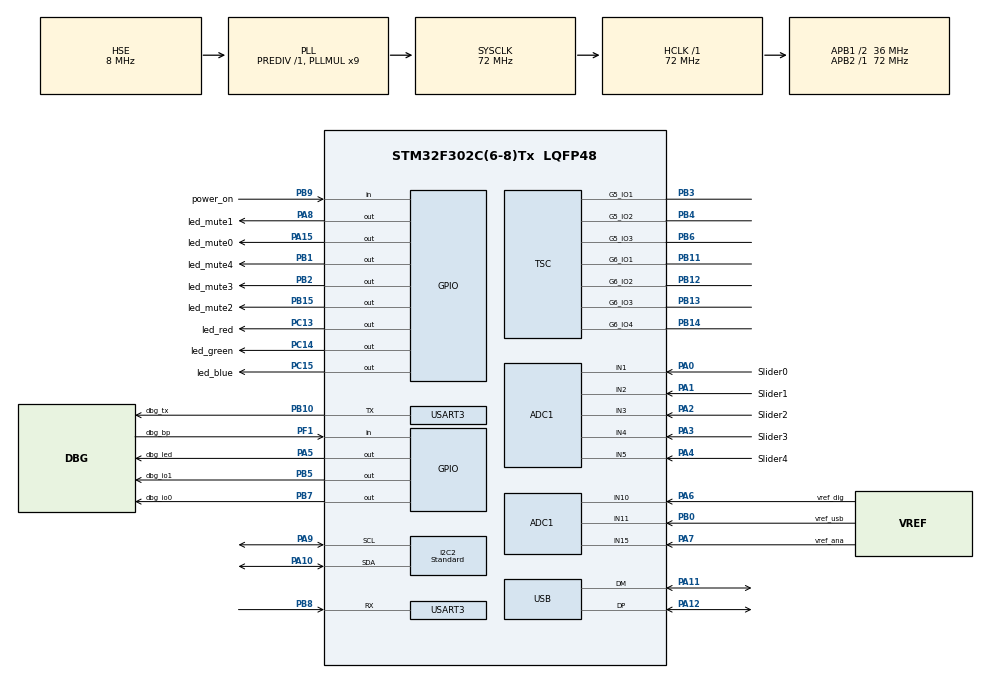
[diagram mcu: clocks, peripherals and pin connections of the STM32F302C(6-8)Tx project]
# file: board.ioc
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ADC1.Channel-0\#ChannelRegularConversion=ADC_CHANNEL_1
ADC1.ClockPrescaler=ADC_CLOCK_SYNC_PCLK_DIV2
ADC1.NbrOfConversion=1
ADC1.NbrOfConversionFlag=1
ADC1.Offset-0\#ChannelRegularConversion=0
ADC1.OffsetNumber-0\#ChannelRegularConversion=ADC_OFFSET_NONE
ADC1.Rank-0\#ChannelRegularConversion=1
ADC1.SamplingTime-0\#ChannelRegularConversion=ADC_SAMPLETIME_1CYCLE_5
ADC1.SubFamily=STM32F302x8
ADC1.master=1
Dma.Request0=USART3_TX
Dma.USART3_TX.0.Direction=DMA_MEMORY_TO_PERIPH
Dma.USART3_TX.0.Instance=DMA1_Channel2
Dma.USART3_TX.0.MemDataAlignment=DMA_MDATAALIGN_BYTE
Dma.USART3_TX.0.MemInc=DMA_MINC_ENABLE
Dma.USART3_TX.0.Mode=DMA_NORMAL
Dma.USART3_TX.0.PeriphDataAlignment=DMA_PDATAALIGN_BYTE
Dma.USART3_TX.0.PeriphInc=DMA_PINC_DISABLE
Dma.USART3_TX.0.Priority=DMA_PRIORITY_LOW
I2C2.I2C_Rise_Time=100
I2C2.I2C_Speed_Mode=I2C_Standard
I2C2.Speed=100
I2C2.Timing=0x00201D2B
Mcu.Family=STM32F3
Mcu.Name=STM32F302C(6-8)Tx
Mcu.Package=LQFP48
NVIC.DMA1_Channel2_IRQn=true\:2\:0\:true\:false\:true\:false\:true\:true
NVIC.PriorityGroup=NVIC_PRIORITYGROUP_4
NVIC.TIM1_BRK_TIM15_IRQn=true\:0\:0\:false\:false\:true\:true\:true\:true
NVIC.TIM1_UP_TIM16_IRQn=true\:0\:0\:false\:false\:true\:true\:true\:true
NVIC.TIM2_IRQn=true\:0\:0\:false\:false\:true\:true\:true\:true
NVIC.USART3_IRQn=true\:2\:0\:true\:false\:true\:true\:true\:true
NVIC.USB_LP_IRQn=true\:1\:0\:true\:false\:true\:false\:true\:true
PA0.GPIO_Label=Slider0
PA0.Mode=IN1-Single-Ended
PA0.Signal=ADC1_IN1
PA1.GPIO_Label=Slider1
PA1.Mode=IN2-Single-Ended
PA1.Signal=ADC1_IN2
PA10.Mode=I2C
PA10.Signal=I2C2_SDA
PA11.Mode=Device
PA11.Signal=USB_DM
PA12.Mode=Device
PA12.Signal=USB_DP
PA13.Mode=Serial_Wire
PA13.Signal=SYS_JTMS-SWDIO
PA14.Mode=Serial_Wire
PA14.Signal=SYS_JTCK-SWCLK
PA15.GPIO_Label=led_mute0
PA15.Signal=GPIO_Output
PA2.GPIO_Label=Slider2
PA2.Mode=IN3-Single-Ended
PA2.Signal=ADC1_IN3
PA3.GPIO_Label=Slider3
PA3.Mode=IN4-Single-Ended
PA3.Signal=ADC1_IN4
PA4.GPIO_Label=Slider4
PA4.Mode=IN5-Single-Ended
PA4.Signal=ADC1_IN5
PA5.GPIO_Label=dbg_led
PA5.Signal=GPIO_Output
PA6.GPIO_Label=vref_dig
PA6.Signal=ADCx_IN10
PA7.GPIO_Label=vref_ana
PA7.Mode=IN15-Single-Ended
PA7.Signal=ADC1_IN15
PA8.GPIO_Label=led_mute1
PA8.Signal=GPIO_Output
PA9.Mode=I2C
PA9.Signal=I2C2_SCL
PB0.GPIO_Label=vref_usb
PB0.Mode=IN11-Single-Ended
PB0.Signal=ADC1_IN11
PB1.GPIO_Label=led_mute4
PB1.Signal=GPIO_Output
PB10.GPIO_Label=dbg_tx
PB10.Mode=Asynchronous
PB10.Signal=USART3_TX
PB11.GPIO_ModeDefaultPP=GPIO_MODE_AF_PP
PB11.GPIO_PuPd=GPIO_NOPULL
PB11.GPIO_Speed=GPIO_SPEED_FREQ_LOW
PB11.Mode=G6_IO1-Channel
PB11.Signal=TSC_G6_IO1
PB12.GPIO_ModeDefaultPP=GPIO_MODE_AF_PP
PB12.GPIO_PuPd=GPIO_NOPULL
PB12.GPIO_Speed=GPIO_SPEED_FREQ_LOW
PB12.Mode=G6_IO2-Channel
PB12.Signal=TSC_G6_IO2
PB13.GPIO_ModeDefaultPP=GPIO_MODE_AF_PP
PB13.GPIO_PuPd=GPIO_NOPULL
PB13.GPIO_Speed=GPIO_SPEED_FREQ_LOW
PB13.Mode=G6_IO3-Channel
PB13.Signal=TSC_G6_IO3
PB14.GPIO_ModeDefaultOD=GPIO_MODE_AF_OD
PB14.GPIO_PuPdOD=GPIO_NOPULL
PB14.GPIO_Speed=GPIO_SPEED_FREQ_LOW
PB14.Mode=G6_IO4-Sampling
PB14.Signal=TSC_G6_IO4
PB15.GPIO_Label=led_mute2
PB15.Signal=GPIO_Output
PB2.GPIO_Label=led_mute3
PB2.PinState=GPIO_PIN_RESET
PB2.Signal=GPIO_Output
PB3.GPIO_ModeDefaultPP=GPIO_MODE_AF_PP
PB3.GPIO_PuPd=GPIO_NOPULL
PB3.GPIO_Speed=GPIO_SPEED_FREQ_LOW
PB3.Mode=G5_IO1-Channel
PB3.Signal=TSC_G5_IO1
PB4.GPIO_ModeDefaultPP=GPIO_MODE_AF_PP
PB4.GPIO_PuPd=GPIO_NOPULL
PB4.GPIO_Speed=GPIO_SPEED_FREQ_LOW
PB4.Mode=G5_IO2-Channel
PB4.Signal=TSC_G5_IO2
PB5.GPIO_Label=dbg_io1
PB5.Signal=GPIO_Output
PB6.GPIO_ModeDefaultOD=GPIO_MODE_AF_OD
PB6.GPIO_PuPdOD=GPIO_NOPULL
PB6.GPIO_Speed=GPIO_SPEED_FREQ_LOW
PB6.Mode=G5_IO3-Sampling
PB6.Signal=TSC_G5_IO3
PB7.GPIO_Label=dbg_io0
PB7.Signal=GPIO_Output
PB8.Mode=Asynchronous
PB8.Signal=USART3_RX
PB9.GPIO_Label=power_on
PB9.Signal=GPIO_Input
PC13.GPIO_Label=led_red
PC13.Signal=GPIO_Output
PC14\ -\ OSC32_IN.GPIO_Label=led_green
PC14\ -\ OSC32_IN.Signal=GPIO_Output
PC15\ -\ OSC32_OUT.GPIO_Label=led_blue
PC15\ -\ OSC32_OUT.Signal=GPIO_Output
PF0-OSC_IN.Mode=HSE-External-Clock-Source
PF0-OSC_IN.Signal=RCC_OSC_IN
PF1-OSC_OUT.GPIO_Label=dbg_bp
PF1-OSC_OUT.Signal=GPIO_Input
ProjectManager.HeapSize=0x200
ProjectManager.StackSize=0x400
ProjectManager.TargetToolchain=STM32CubeIDE
RCC.AHBFreq_Value=72000000
RCC.APB1CLKDivider=RCC_HCLK_DIV2
RCC.APB1Freq_Value=36000000
RCC.APB1TimFreq_Value=72000000
RCC.APB2Freq_Value=72000000
RCC.APB2TimFreq_Value=72000000
RCC.CortexFreq_Value=72000000
RCC.HCLKFreq_Value=72000000
RCC.HSE_VALUE=8000000
RCC.HSI_VALUE=8000000
RCC.LSE_VALUE=32768
RCC.PLLMUL=RCC_PLL_MUL9
RCC.PRESCALERUSB=RCC_USBCLKSOURCE_PLL_DIV1_5
RCC.SYSCLKFreq_VALUE=72000000
RCC.SYSCLKSourceVirtual=RCC_SYSCLKSOURCE_PLLCLK
RCC.USBFreq_Value=48000000
SH.ADCx_IN10.0=ADC1_IN10,IN10-Single-Ended
TIM15.AutoReloadPreload=TIM_AUTORELOAD_PRELOAD_ENABLE
TIM15.ClockDivision=TIM_CLOCKDIVISION_DIV4
TIM15.Period=20535
TIM15.Prescaler=5
TIM16.AutoReloadPreload=TIM_AUTORELOAD_PRELOAD_ENABLE
TIM16.ClockDivision=TIM_CLOCKDIVISION_DIV4
TIM16.Period=55000
TIM16.Prescaler=5
TIM2.AutoReloadPreload=TIM_AUTORELOAD_PRELOAD_ENABLE
TIM2.ClockDivision=TIM_CLOCKDIVISION_DIV4
TIM2.CounterMode=TIM_COUNTERMODE_UP
TIM2.Period=250
TIM2.Prescaler=5
TIM2.TIM_MasterOutputTrigger=TIM_TRGO_UPDATE
TSC.CTPulseHighLength=TSC_CTPH_12CYCLES
TSC.CTPulseLowLength=TSC_CTPL_12CYCLES
TSC.ChannelIOs-G5_IO1=TSC_GROUP5_IO1
TSC.ChannelIOs-G5_IO2=TSC_GROUP5_IO2
TSC.ChannelIOs-G6_IO1=TSC_GROUP6_IO1
TSC.ChannelIOs-G6_IO2=TSC_GROUP6_IO2
TSC.ChannelIOs-G6_IO3=TSC_GROUP6_IO3
TSC.IODefaultMode=TSC_IODEF_OUT_PP_LOW
TSC.PulseGeneratorPrescaler=TSC_PG_PRESC_DIV16
TSC.SamplingIOs-G5_IO3=TSC_GROUP5_IO3
TSC.SamplingIOs-G6_IO4=TSC_GROUP6_IO4
TSC.SpreadSpectrum=DISABLE
TSC.SpreadSpectrumDeviation=2
TSC.SpreadSpectrumPrescaler=TSC_SS_PRESC_DIV2
USART3.BaudRate=115200
USART3.VirtualMode-Asynchronous=VM_ASYNC
USB_DEVICE.CLASS_NAME_FS=CDC
USB_DEVICE.VirtualMode=Cdc
USB_DEVICE.VirtualModeFS=Cdc_FS
VP_TIM15_VS_ClockSourceINT.Mode=Internal
VP_TIM16_VS_ClockSourceINT.Mode=Enable_Timer
VP_TIM2_VS_ClockSourceINT.Mode=Internal
VP_USB_DEVICE_VS_USB_DEVICE_CDC_FS.Mode=CDC_FS
board=custom

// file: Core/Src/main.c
/* USER CODE BEGIN Header */
/**
  ******************************************************************************
  * @file           : main.c
  * @brief          : Main program body
  ******************************************************************************
  * @attention
  *
  * Copyright (c) 2025 STMicroelectronics.
  * All rights reserved.
  *
  * This software is licensed under terms that can be found in the LICENSE file
  * in the root directory of this software component.
  * If no LICENSE file comes with this software, it is provided AS-IS.
  *
  ******************************************************************************
  */
/* USER CODE END Header */
#include "main.h"
#include "usb_device.h"

/* USER CODE BEGIN Includes */
// ST
#include "usbd_cdc_if.h"

// Others files
#include "config.h"
#include "fsm/fsm.h"
#include "utils/init.h"
#include "handlers/leds.h"
#include "handlers/timers.h"

#include "utils/logger.h"

/* USER CODE END Includes */

ADC_HandleTypeDef hadc1;

I2C_HandleTypeDef hi2c2;

TIM_HandleTypeDef htim2;
TIM_HandleTypeDef htim15;
TIM_HandleTypeDef htim16;

TSC_HandleTypeDef htsc;

UART_HandleTypeDef huart3;
DMA_HandleTypeDef hdma_usart3_tx;

void SystemClock_Config(void);
static void MX_GPIO_Init(void);
static void MX_DMA_Init(void);
static void MX_ADC1_Init(void);
static void MX_I2C2_Init(void);
static void MX_TSC_Init(void);
static void MX_USART3_UART_Init(void);
static void MX_TIM2_Init(void);
static void MX_TIM15_Init(void);
static void MX_TIM16_Init(void);

/* USER CODE BEGIN 0 */
extern uint8_t isr_message[ISR_MESSAGE_SIZE];
extern uint8_t msg_available;

// From fsm/fsm.c
extern int output_volumes[5];

// Private variables
uint8_t uart_message[96] = { 0 };

/* USER CODE END 0 */

int main(void)
{

  /* MCU Configuration--------------------------------------------------------*/

  /* Reset of all peripherals, Initializes the Flash interface and the Systick. */
  HAL_Init();

  /* Configure the system clock */
  SystemClock_Config();

  /* USER CODE BEGIN SysInit */
  /*
   * Call theses here, to ensure the logger will be effective immediately.
   * After regeneration, they may be re-called, but we don't care ! We'll overwrite the same parameters.
   */
  MX_DMA_Init();
  MX_USART3_UART_Init();

  /* USER CODE END SysInit */

  /* Initialize all configured peripherals */
  MX_GPIO_Init();
  // MX_DMA_Init();
  MX_ADC1_Init();
  MX_I2C2_Init();
  MX_TSC_Init();
  // MX_USART3_UART_Init();
  MX_USB_DEVICE_Init();
  MX_TIM2_Init();
  MX_TIM15_Init();
  MX_TIM16_Init();
  /* USER CODE BEGIN 2 */

  // Init the board
  board_init();

  /* USER CODE END 2 */

  /* Infinite loop */
  /* USER CODE BEGIN WHILE */
  // int size = 0;
  while (1)
  {
	  fsm_update();
    /* USER CODE END WHILE */

  }
}

void SystemClock_Config(void)
{
  RCC_OscInitTypeDef RCC_OscInitStruct = {0};
  RCC_ClkInitTypeDef RCC_ClkInitStruct = {0};
  RCC_PeriphCLKInitTypeDef PeriphClkInit = {0};

  /** Initializes the RCC Oscillators according to the specified parameters
  * in the RCC_OscInitTypeDef structure.
  */
  RCC_OscInitStruct.OscillatorType = RCC_OSCILLATORTYPE_HSI|RCC_OSCILLATORTYPE_HSE;
  RCC_OscInitStruct.HSEState = RCC_HSE_BYPASS;
  RCC_OscInitStruct.HSEPredivValue = RCC_HSE_PREDIV_DIV1;
  RCC_OscInitStruct.HSIState = RCC_HSI_ON;
  RCC_OscInitStruct.HSICalibrationValue = RCC_HSICALIBRATION_DEFAULT;
  RCC_OscInitStruct.PLL.PLLState = RCC_PLL_ON;
  RCC_OscInitStruct.PLL.PLLSource = RCC_PLLSOURCE_HSE;
  RCC_OscInitStruct.PLL.PLLMUL = RCC_PLL_MUL9;
  if (HAL_RCC_OscConfig(&RCC_OscInitStruct) != HAL_OK)
  {
    Error_Handler();
  }

  /** Initializes the CPU, AHB and APB buses clocks
  */
  RCC_ClkInitStruct.ClockType = RCC_CLOCKTYPE_HCLK|RCC_CLOCKTYPE_SYSCLK
                              |RCC_CLOCKTYPE_PCLK1|RCC_CLOCKTYPE_PCLK2;
  RCC_ClkInitStruct.SYSCLKSource = RCC_SYSCLKSOURCE_PLLCLK;
  RCC_ClkInitStruct.AHBCLKDivider = RCC_SYSCLK_DIV1;
  RCC_ClkInitStruct.APB1CLKDivider = RCC_HCLK_DIV2;
  RCC_ClkInitStruct.APB2CLKDivider = RCC_HCLK_DIV1;

  if (HAL_RCC_ClockConfig(&RCC_ClkInitStruct, FLASH_LATENCY_2) != HAL_OK)
  {
    Error_Handler();
  }
  PeriphClkInit.PeriphClockSelection = RCC_PERIPHCLK_USB|RCC_PERIPHCLK_I2C2
                              |RCC_PERIPHCLK_TIM15|RCC_PERIPHCLK_TIM16;
  PeriphClkInit.I2c2ClockSelection = RCC_I2C2CLKSOURCE_HSI;
  PeriphClkInit.USBClockSelection = RCC_USBCLKSOURCE_PLL_DIV1_5;
  PeriphClkInit.Tim15ClockSelection = RCC_TIM15CLK_HCLK;
  PeriphClkInit.Tim16ClockSelection = RCC_TIM16CLK_HCLK;
  if (HAL_RCCEx_PeriphCLKConfig(&PeriphClkInit) != HAL_OK)
  {
    Error_Handler();
  }
}

static void MX_ADC1_Init(void)
{

  ADC_ChannelConfTypeDef sConfig = {0};

  /** Common config
  */
  hadc1.Instance = ADC1;
  hadc1.Init.ClockPrescaler = ADC_CLOCK_SYNC_PCLK_DIV2;
  hadc1.Init.Resolution = ADC_RESOLUTION_12B;
  hadc1.Init.ScanConvMode = ADC_SCAN_DISABLE;
  hadc1.Init.ContinuousConvMode = DISABLE;
  hadc1.Init.DiscontinuousConvMode = DISABLE;
  hadc1.Init.ExternalTrigConvEdge = ADC_EXTERNALTRIGCONVEDGE_NONE;
  hadc1.Init.ExternalTrigConv = ADC_SOFTWARE_START;
  hadc1.Init.DataAlign = ADC_DATAALIGN_RIGHT;
  hadc1.Init.NbrOfConversion = 1;
  hadc1.Init.DMAContinuousRequests = DISABLE;
  hadc1.Init.EOCSelection = ADC_EOC_SINGLE_CONV;
  hadc1.Init.LowPowerAutoWait = DISABLE;
  hadc1.Init.Overrun = ADC_OVR_DATA_OVERWRITTEN;
  if (HAL_ADC_Init(&hadc1) != HAL_OK)
  {
    Error_Handler();
  }

  /** Configure Regular Channel
  */
  sConfig.Channel = ADC_CHANNEL_1;
  sConfig.Rank = ADC_REGULAR_RANK_1;
  sConfig.SingleDiff = ADC_SINGLE_ENDED;
  sConfig.SamplingTime = ADC_SAMPLETIME_1CYCLE_5;
  sConfig.OffsetNumber = ADC_OFFSET_NONE;
  sConfig.Offset = 0;
  if (HAL_ADC_ConfigChannel(&hadc1, &sConfig) != HAL_OK)
  {
    Error_Handler();
  }
  /* USER CODE BEGIN ADC1_Init 2 */
  int size = 0;
  size = snprintf((char *)uart_message, (size_t)sizeof(uart_message), "[  ADC   ] Initialised ADC.\n\r");
  uart_log(uart_message, size);
  memset((void *)uart_message, 0x00, (size_t)sizeof(uart_message));
  /* USER CODE END ADC1_Init 2 */

}

static void MX_I2C2_Init(void)
{

  hi2c2.Instance = I2C2;
  hi2c2.Init.Timing = 0x00201D2B;
  hi2c2.Init.OwnAddress1 = 0;
  hi2c2.Init.AddressingMode = I2C_ADDRESSINGMODE_7BIT;
  hi2c2.Init.DualAddressMode = I2C_DUALADDRESS_DISABLE;
  hi2c2.Init.OwnAddress2 = 0;
  hi2c2.Init.OwnAddress2Masks = I2C_OA2_NOMASK;
  hi2c2.Init.GeneralCallMode = I2C_GENERALCALL_DISABLE;
  hi2c2.Init.NoStretchMode = I2C_NOSTRETCH_DISABLE;
  if (HAL_I2C_Init(&hi2c2) != HAL_OK)
  {
    Error_Handler();
  }

  /** Configure Analogue filter
  */
  if (HAL_I2CEx_ConfigAnalogFilter(&hi2c2, I2C_ANALOGFILTER_ENABLE) != HAL_OK)
  {
    Error_Handler();
  }

  /** Configure Digital filter
  */
  if (HAL_I2CEx_ConfigDigitalFilter(&hi2c2, 0) != HAL_OK)
  {
    Error_Handler();
  }
  /* USER CODE BEGIN I2C2_Init 2 */
  int size = 0;
  size =  snprintf((char *)uart_message, (size_t)sizeof(uart_message), "[  I2C2  ] Initialised I2C2.\n\r");
  uart_log(uart_message, size);
  memset((void *)uart_message, 0x00, (size_t)sizeof(uart_message));
  /* USER CODE END I2C2_Init 2 */

}

static void MX_TIM2_Init(void)
{

  TIM_ClockConfigTypeDef sClockSourceConfig = {0};
  TIM_MasterConfigTypeDef sMasterConfig = {0};

  htim2.Instance = TIM2;
  htim2.Init.Prescaler = 5;
  htim2.Init.CounterMode = TIM_COUNTERMODE_UP;
  htim2.Init.Period = 250;
  htim2.Init.ClockDivision = TIM_CLOCKDIVISION_DIV4;
  htim2.Init.AutoReloadPreload = TIM_AUTORELOAD_PRELOAD_ENABLE;
  if (HAL_TIM_Base_Init(&htim2) != HAL_OK)
  {
    Error_Handler();
  }
  sClockSourceConfig.ClockSource = TIM_CLOCKSOURCE_INTERNAL;
  if (HAL_TIM_ConfigClockSource(&htim2, &sClockSourceConfig) != HAL_OK)
  {
    Error_Handler();
  }
  sMasterConfig.MasterOutputTrigger = TIM_TRGO_UPDATE;
  sMasterConfig.MasterSlaveMode = TIM_MASTERSLAVEMODE_DISABLE;
  if (HAL_TIMEx_MasterConfigSynchronization(&htim2, &sMasterConfig) != HAL_OK)
  {
    Error_Handler();
  }
  /* USER CODE BEGIN TIM2_Init 2 */
  int size = 0;
  size = snprintf((char *)uart_message, (size_t)sizeof(uart_message), "[  TIM2  ] Initialised TIM2, with a period of 10 ms.\n\r");
  uart_log(uart_message, size);
  memset((void *)uart_message, 0x00, (size_t)sizeof(uart_message));
  /* USER CODE END TIM2_Init 2 */

}

static void MX_TIM15_Init(void)
{

  TIM_ClockConfigTypeDef sClockSourceConfig = {0};
  TIM_MasterConfigTypeDef sMasterConfig = {0};

  htim15.Instance = TIM15;
  htim15.Init.Prescaler = 5;
  htim15.Init.CounterMode = TIM_COUNTERMODE_UP;
  htim15.Init.Period = 20535;
  htim15.Init.ClockDivision = TIM_CLOCKDIVISION_DIV4;
  htim15.Init.RepetitionCounter = 0;
  htim15.Init.AutoReloadPreload = TIM_AUTORELOAD_PRELOAD_ENABLE;
  if (HAL_TIM_Base_Init(&htim15) != HAL_OK)
  {
    Error_Handler();
  }
  sClockSourceConfig.ClockSource = TIM_CLOCKSOURCE_INTERNAL;
  if (HAL_TIM_ConfigClockSource(&htim15, &sClockSourceConfig) != HAL_OK)
  {
    Error_Handler();
  }
  sMasterConfig.MasterOutputTrigger = TIM_TRGO_RESET;
  sMasterConfig.MasterSlaveMode = TIM_MASTERSLAVEMODE_DISABLE;
  if (HAL_TIMEx_MasterConfigSynchronization(&htim15, &sMasterConfig) != HAL_OK)
  {
    Error_Handler();
  }
  /* USER CODE BEGIN TIM15_Init 2 */
  int size = 0;
  size = snprintf((char *)uart_message, (size_t)sizeof(uart_message), "[  TIM15 ] Initialised TIM15, with a period of 40 us.\n\r");
  uart_log(uart_message, size);
  memset((void *)uart_message, 0x00, (size_t)sizeof(uart_message));
  /* USER CODE END TIM15_Init 2 */

}

static void MX_TIM16_Init(void)
{

  htim16.Instance = TIM16;
  htim16.Init.Prescaler = 5;
  htim16.Init.CounterMode = TIM_COUNTERMODE_UP;
  htim16.Init.Period = 55000;
  htim16.Init.ClockDivision = TIM_CLOCKDIVISION_DIV4;
  htim16.Init.RepetitionCounter = 0;
  htim16.Init.AutoReloadPreload = TIM_AUTORELOAD_PRELOAD_ENABLE;
  if (HAL_TIM_Base_Init(&htim16) != HAL_OK)
  {
    Error_Handler();
  }
  /* USER CODE BEGIN TIM16_Init 2 */
  int size = 0;
  size = snprintf((char *)uart_message, (size_t)sizeof(uart_message), "[  TIM16 ] Initialised TIM16, with a period of ~1ms.\n\r");
  uart_log(uart_message, size);
  memset((void *)uart_message, 0x00, (size_t)sizeof(uart_message));
  /* USER CODE END TIM16_Init 2 */

}

static void MX_TSC_Init(void)
{

  /** Configure the TSC peripheral
  */
  htsc.Instance = TSC;
  htsc.Init.CTPulseHighLength = TSC_CTPH_12CYCLES;
  htsc.Init.CTPulseLowLength = TSC_CTPL_12CYCLES;
  htsc.Init.SpreadSpectrum = DISABLE;
  htsc.Init.SpreadSpectrumDeviation = 2;
  htsc.Init.SpreadSpectrumPrescaler = TSC_SS_PRESC_DIV2;
  htsc.Init.PulseGeneratorPrescaler = TSC_PG_PRESC_DIV16;
  htsc.Init.MaxCountValue = TSC_MCV_8191;
  htsc.Init.IODefaultMode = TSC_IODEF_OUT_PP_LOW;
  htsc.Init.SynchroPinPolarity = TSC_SYNC_POLARITY_FALLING;
  htsc.Init.AcquisitionMode = TSC_ACQ_MODE_NORMAL;
  htsc.Init.MaxCountInterrupt = DISABLE;
  htsc.Init.ChannelIOs = TSC_GROUP5_IO1|TSC_GROUP5_IO2|TSC_GROUP6_IO1|TSC_GROUP6_IO2
                    |TSC_GROUP6_IO3;
  htsc.Init.ShieldIOs = 0;
  htsc.Init.SamplingIOs = TSC_GROUP5_IO3|TSC_GROUP6_IO4;
  if (HAL_TSC_Init(&htsc) != HAL_OK)
  {
    Error_Handler();
  }
  /* USER CODE BEGIN TSC_Init 2 */
  int size = 0;
  size = snprintf((char *)uart_message, (size_t)sizeof(uart_message), "[  TSC   ] Initialised TSC1 peripheral\n\r");
  uart_log(uart_message, size);
  memset((void *)uart_message, 0x00, (size_t)sizeof(uart_message));

  // Enable EOA and MCE interrupts
  __HAL_TSC_ENABLE_IT(&htsc, TSC_IT_EOA | TSC_IT_MCE);

  // Enable TSC interrupt in NVIC
  HAL_NVIC_SetPriority(EXTI2_TSC_IRQn, 5, 0);
  HAL_NVIC_EnableIRQ(EXTI2_TSC_IRQn);

  /* USER CODE END TSC_Init 2 */

}

static void MX_USART3_UART_Init(void)
{

  huart3.Instance = USART3;
  huart3.Init.BaudRate = 115200;
  huart3.Init.WordLength = UART_WORDLENGTH_8B;
  huart3.Init.StopBits = UART_STOPBITS_1;
  huart3.Init.Parity = UART_PARITY_NONE;
  huart3.Init.Mode = UART_MODE_TX_RX;
  huart3.Init.HwFlowCtl = UART_HWCONTROL_NONE;
  huart3.Init.OverSampling = UART_OVERSAMPLING_16;
  huart3.Init.OneBitSampling = UART_ONE_BIT_SAMPLE_DISABLE;
  huart3.AdvancedInit.AdvFeatureInit = UART_ADVFEATURE_NO_INIT;
  if (HAL_UART_Init(&huart3) != HAL_OK)
  {
    Error_Handler();
  }
  /* USER CODE BEGIN USART3_Init 2 */
  int size = 0;
  size = snprintf((char *)uart_message, (size_t)sizeof(uart_message), "[  BOOT  ] Started device boot\n\r");
  uart_log(uart_message, size);
  memset((void *)uart_message, 0x00, (size_t)sizeof(uart_message));
  size = snprintf((char *)uart_message, (size_t)sizeof(uart_message), "[  UART  ] Initialised UART3 peripheral\n\r");
  uart_log(uart_message, size);
  memset((void *)uart_message, 0x00, (size_t)sizeof(uart_message));
  /* USER CODE END USART3_Init 2 */

}

static void MX_DMA_Init(void)
{

  /* DMA controller clock enable */
  __HAL_RCC_DMA1_CLK_ENABLE();

  /* DMA interrupt init */
  /* DMA1_Channel2_IRQn interrupt configuration */
  HAL_NVIC_SetPriority(DMA1_Channel2_IRQn, 2, 0);
  HAL_NVIC_EnableIRQ(DMA1_Channel2_IRQn);

}

static void MX_GPIO_Init(void)
{
  GPIO_InitTypeDef GPIO_InitStruct = {0};

  /* GPIO Ports Clock Enable */
  __HAL_RCC_GPIOC_CLK_ENABLE();
  __HAL_RCC_GPIOF_CLK_ENABLE();
  __HAL_RCC_GPIOA_CLK_ENABLE();
  __HAL_RCC_GPIOB_CLK_ENABLE();

  /*Configure GPIO pin Output Level */
  HAL_GPIO_WritePin(GPIOC, led_red_Pin|led_green_Pin|led_blue_Pin, GPIO_PIN_RESET);

  /*Configure GPIO pin Output Level */
  HAL_GPIO_WritePin(GPIOA, dbg_led_Pin|led_mute1_Pin|led_mute0_Pin, GPIO_PIN_RESET);

  /*Configure GPIO pin Output Level */
  HAL_GPIO_WritePin(GPIOB, led_mute4_Pin|led_mute3_Pin|led_mute2_Pin|dbg_io1_Pin
                          |dbg_io0_Pin, GPIO_PIN_RESET);

  /*Configure GPIO pins : led_red_Pin led_green_Pin led_blue_Pin */
  GPIO_InitStruct.Pin = led_red_Pin|led_green_Pin|led_blue_Pin;
  GPIO_InitStruct.Mode = GPIO_MODE_OUTPUT_PP;
  GPIO_InitStruct.Pull = GPIO_NOPULL;
  GPIO_InitStruct.Speed = GPIO_SPEED_FREQ_LOW;
  HAL_GPIO_Init(GPIOC, &GPIO_InitStruct);

  /*Configure GPIO pin : dbg_bp_Pin */
  GPIO_InitStruct.Pin = dbg_bp_Pin;
  GPIO_InitStruct.Mode = GPIO_MODE_INPUT;
  GPIO_InitStruct.Pull = GPIO_NOPULL;
  HAL_GPIO_Init(dbg_bp_GPIO_Port, &GPIO_InitStruct);

  /*Configure GPIO pins : dbg_led_Pin led_mute1_Pin led_mute0_Pin */
  GPIO_InitStruct.Pin = dbg_led_Pin|led_mute1_Pin|led_mute0_Pin;
  GPIO_InitStruct.Mode = GPIO_MODE_OUTPUT_PP;
  GPIO_InitStruct.Pull = GPIO_NOPULL;
  GPIO_InitStruct.Speed = GPIO_SPEED_FREQ_LOW;
  HAL_GPIO_Init(GPIOA, &GPIO_InitStruct);

  /*Configure GPIO pins : led_mute4_Pin led_mute3_Pin led_mute2_Pin dbg_io1_Pin
                           dbg_io0_Pin */
  GPIO_InitStruct.Pin = led_mute4_Pin|led_mute3_Pin|led_mute2_Pin|dbg_io1_Pin
                          |dbg_io0_Pin;
  GPIO_InitStruct.Mode = GPIO_MODE_OUTPUT_PP;
  GPIO_InitStruct.Pull = GPIO_NOPULL;
  GPIO_InitStruct.Speed = GPIO_SPEED_FREQ_LOW;
  HAL_GPIO_Init(GPIOB, &GPIO_InitStruct);

  /*Configure GPIO pin : power_on_Pin */
  GPIO_InitStruct.Pin = power_on_Pin;
  GPIO_InitStruct.Mode = GPIO_MODE_INPUT;
  GPIO_InitStruct.Pull = GPIO_NOPULL;
  HAL_GPIO_Init(power_on_GPIO_Port, &GPIO_InitStruct);

  /* USER CODE BEGIN MX_GPIO_Init_2 */
  int size = 0;
  size = snprintf((char *)uart_message, (size_t)sizeof(uart_message), "[  GPIO  ] Initialised GPIO IOs\n\r");
  uart_log(uart_message, size);
  memset((void *)uart_message, 0x00, (size_t)sizeof(uart_message));

  // This force USB DP to low for 50 MS, thus ensuring the host will re-enumerate it !
  // Configure PA12 (USB_DP) as push-pull output
  size = snprintf((char *)uart_message, (size_t)sizeof(uart_message), "[  USB   ] Triggering USB re-enumeration... (PA12 / D+ low)\n\r");
  uart_log(uart_message, size);
  memset((void *)uart_message, 0x00, (size_t)sizeof(uart_message));

  GPIO_InitStruct.Pin = GPIO_PIN_12;
  GPIO_InitStruct.Mode = GPIO_MODE_OUTPUT_PP;
  GPIO_InitStruct.Pull = GPIO_NOPULL;
  GPIO_InitStruct.Speed = GPIO_SPEED_FREQ_LOW;
  HAL_GPIO_Init(GPIOA, &GPIO_InitStruct);

  // Drive DP low for a bit
  HAL_GPIO_WritePin(GPIOA, GPIO_PIN_12, GPIO_PIN_RESET);
  HAL_Delay(30);

  // Now release control and let USB peripheral take over
  GPIO_InitStruct.Mode = GPIO_MODE_AF_PP;
  GPIO_InitStruct.Alternate = 0x0E; // for F302
  HAL_GPIO_Init(GPIOA, &GPIO_InitStruct);
  HAL_Delay(30);

  size = snprintf((char *)uart_message, (size_t)sizeof(uart_message), "[  USB   ] Done ... \n\r");
  uart_log(uart_message, size);
  memset((void *)uart_message, 0x00, (size_t)sizeof(uart_message));

  /* USER CODE END MX_GPIO_Init_2 */
}

void Error_Handler(void)
{
  /* USER CODE BEGIN Error_Handler_Debug */
  /* User can add his own implementation to report the HAL error return state */
  __disable_irq();

  // Send a message in the console
  snprintf((char *)uart_message, (size_t)sizeof(uart_message), "[  ERR   ] Entered fatal error. Cannot exit.\n\r");
  while (HAL_UART_Transmit_DMA(&huart3, uart_message, sizeof(uart_message)) != HAL_OK)  {};

  /*
   * Set the status led to RED.
   * We don't use the set_pwm function, because we don't want to rely on some function.
   */
  init_pwm(RGB_RED, GPIOC, GPIO_PIN_13, 100, 1); // RED
  init_pwm(RGB_GREEN, GPIOC, GPIO_PIN_14, 0, 1); // GREEN
  init_pwm(RGB_BLUE, GPIOC, GPIO_PIN_15, 0, 1); // BLUE

  while (1)
  {
  }
  /* USER CODE END Error_Handler_Debug */
}
